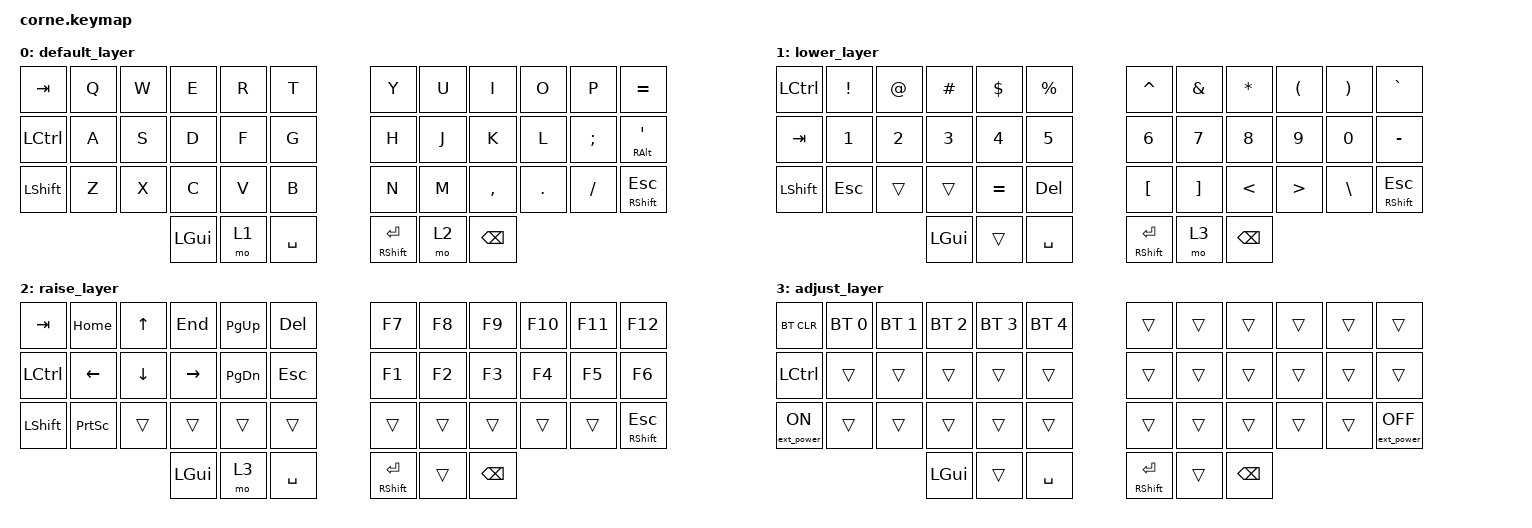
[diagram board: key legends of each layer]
/*
 * Copyright (c) 2020 The ZMK Contributors
 *
 * SPDX-License-Identifier: MIT
 */

#include <behaviors.dtsi>
#include <dt-bindings/zmk/keys.h>
#include <dt-bindings/zmk/bt.h>
#include <dt-bindings/zmk/ext_power.h>

/ {
        ext-power {
                init-delay-ms = <90>;
        };
        keymap {
                compatible = "zmk,keymap";

                default_layer {
// -----------------------------------------------------------------------------------------
// |  TAB |  Q  |  W  |  E  |  R  |  T  | ¤ |  Y  |  U   |  I  |  O  |  P  |  =  |
// | CTRL |  A  |  S  |  D  |  F  |  G  | ¤ |  H  |  J   |  K  |  L  |  ;  |  RALT/'  |
// | SHFT |  Z  |  X  |  C  |  V  |  B  | ¤ |  N  |  M   |  ,  |  .  |  /  | ESC/RS |
//                    | GUI | LWR | SPC | ¤ | ENT/RS | RSE  | BKSP |
                        bindings = <
   &kp TAB   &kp Q &kp W &kp E &kp R &kp T   &kp Y &kp U  &kp I     &kp O   &kp P    &kp EQUAL
   &kp LCTRL &kp A &kp S &kp D &kp F &kp G   &kp H &kp J  &kp K     &kp L   &kp SEMI &mt RALT SQT
   &kp LSHFT &kp Z &kp X &kp C &kp V &kp B   &kp N &kp M  &kp COMMA &kp DOT &kp FSLH &mt RSHFT ESC
                  &kp LGUI &mo 1 &kp SPACE   &mt RSHFT RET &mo 2 &kp BSPC
                        >;
                };
                lower_layer {
// -----------------------------------------------------------------------------------------
// |  TAB |  1  |  2  |  3  |  4  |  5  | ¤ |  6  |  7  |  8  |  9  |  0  | ~   |
// | CTRL |  !  |  @  |  #  |  $  |  %  | ¤ |  ^  |  &  |  *  |  (  |  )  |  -  |
// | SHFT | ESC  |     |     |  =  |DEL  | ¤ |  {  |  }  |  <  |  >  |  \  |  RALT   |
//                    | GUI |     | SPC | ¤ | ENT/RS |  Mo3   | BKSP |
                        bindings = <
   &kp LCTRL  &kp EXCL     &kp AT       &kp HASH    &kp DLLR     &kp PRCNT      &kp CARET   &kp AMPS   &kp ASTRK     &kp LPAR   &kp RPAR  &kp GRAVE
   &kp TAB    &kp N1       &kp N2       &kp N3       &kp N4       &kp N5         &kp N6      &kp N7     &kp N8        &kp N9     &kp N0    &kp MINUS
   &kp LSHFT  &kp ESC       &trans       &trans       &kp EQUAL       &kp DEL      &kp LBKT    &kp RBKT   &kp LT        &kp GT     &kp BSLH   &mt RSHFT ESC
                          	        &kp LGUI     &trans       &kp SPACE      &mt RSHFT RET     &mo 3     &kp BSPC
                        >;
                };

                raise_layer {
// -----------------------------------------------------------------------------------------
// |  TAB | HME | UP  | END | PGU | DEL |  |  F7 |  F8  |  F9  |  F10 |  F11 | F12 |
// | CTRL | LFT | DWN | RGT | PGD | ESC |  |  F1 |  F2  |  F3  |  F4  |  F5  |  F6 |
// | SHFT |prscn|     |     |     |     |   |     |      |      |      |      |  ALT   |
//                    | GUI | MO3 | SPC | ¤ | ENT/RS |   | BKSP |
                        bindings = <
   &kp TAB     &kp HOME &kp UP   &kp END   &kp PG_UP &kp DEL  &kp F7    &kp F8    &kp F9          &kp F10   &kp F11   &kp F12
   &kp LCTRL   &kp LEFT &kp DOWN &kp RIGHT &kp PG_DN  &kp ESC &kp F1    &kp F2    &kp F3          &kp F4    &kp F5    &kp F6
   &kp LSHFT &kp PSCRN &trans   &trans   &trans    &trans    &trans    &trans   &trans           &trans    &trans    &mt RSHFT ESC
                          	        &kp LGUI     &mo 3      &kp SPACE      &mt RSHFT RET     &trans     &kp BSPC
                        >;
                };

                adjust_layer {
// -----------------------------------------------------------------------------------------
// | BTCLR| BT1 | BT2 | BT3 | BT4 | BT5 |   | LFT | DWN |  UP | RGT |     |      |
// |      |     |     |     |     |     |   |     |     |     |     |     |      |
// |      |     |     |     |     |     |   |     |     |     |     |     |      |
//                    | GUI |     | SPC |   | ENT |     | ALT |
                        bindings = <
   &bt BT_CLR &bt BT_SEL 0 &bt BT_SEL 1 &bt BT_SEL 2 &bt BT_SEL 3 &bt BT_SEL 4   &trans &trans &trans &trans &trans &trans
   &kp LCTRL &trans &trans   &trans   &trans    &trans    &trans    &trans   &trans           &trans    &trans    &trans
   &ext_power EP_ON &trans &trans   &trans   &trans    &trans    &trans    &trans   &trans           &trans    &trans    &ext_power EP_OFF
                    	     &kp LGUI &trans    &kp SPACE   &mt RSHFT RET   &trans   &kp BSPC
                        >;
                };
        };

};
